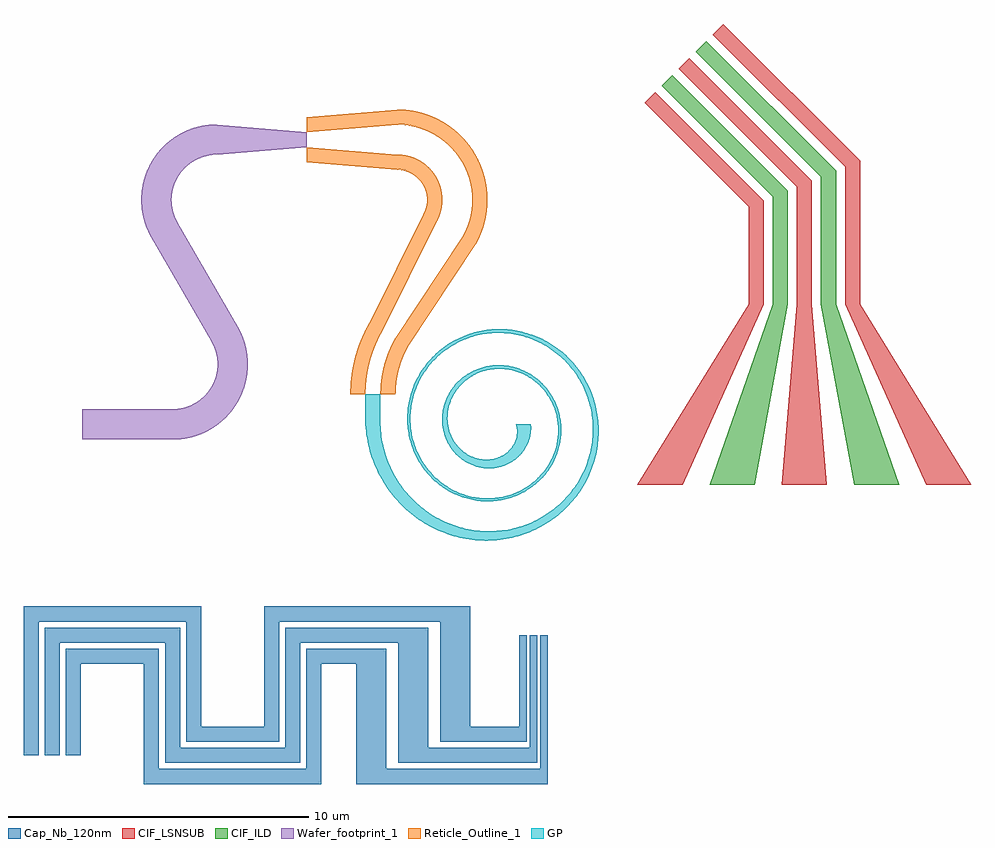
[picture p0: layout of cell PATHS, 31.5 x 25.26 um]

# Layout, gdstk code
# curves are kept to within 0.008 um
import gdstk
lib = gdstk.Library(unit=1e-6, precision=1e-09)
def R(c, l, rs):  # rectangles x0, y0, x1, y1
    for r in rs: c.add(gdstk.rectangle(r[:2], r[2:], *l))
def P(c, l, *ps):  # polygons
    for p in ps: c.add(gdstk.Polygon(p, *l))
Wafer_footprint_1 = (1, 1)
Reticle_Outline_1 = (2, 1)
GP = (3, 0)
CIF_LSNSUB = (4, 0)
CIF_ILD = (5, 0)
Cap_Nb_120nm = (6, 0)

paths = lib.new_cell('PATHS')
R(paths, Wafer_footprint_1, [(0,-0.5,3,0.5)])
P(paths, Wafer_footprint_1, [(3,-0.5),(3.19,-0.493),(3.459,-0.458),(3.674,-0.408),(3.855,-0.349),(3.513,0.59),(3.29,0.528),(3,0.5)],
  [(3.855,-0.349),(4.059,-0.265),(4.246,-0.168),(4.44,-0.044),(4.607,0.085),(3.964,0.851),(3.761,0.707),(3.513,0.59)],
  [(4.607,0.085),(4.77,0.234),(4.912,0.389),(5.058,0.58),(5.165,0.75),(4.299,1.25),(4.153,1.04),(3.964,0.851)],
  [(5.165,0.75),(5.25,0.909),(5.348,1.14),(5.412,1.341),(5.462,1.566),(4.477,1.74),(4.414,1.498),(4.299,1.25)],
  [(5.462,1.566),(5.5,1.955),(5.492,2.205),(5.462,2.434),(4.477,2.26),(4.5,2.037),(4.477,1.74)],
  [(5.462,2.434),(5.412,2.659),(5.348,2.86),(5.25,3.091),(5.165,3.25),(4.299,2.75),(4.414,2.502),(4.477,2.26)],
  [(4.299,2.75),(5.165,3.25),(3.165,6.714),(2.299,6.214)],
  [(2.299,6.214),(2.197,6.41),(2.106,6.633),(2.047,6.824),(2.002,7.03),(2.987,7.204),(3.048,6.968),(3.165,6.714)],
  [(2.002,7.03),(1.973,7.249),(1.964,7.429),(1.973,7.679),(2.002,7.898),(2.987,7.725),(2.964,7.495),(2.987,7.204)],
  [(2.002,7.898),(2.047,8.104),(2.106,8.296),(2.214,8.555),(2.299,8.714),(3.165,8.214),(3.05,7.966),(2.987,7.725)],
  [(2.299,8.714),(2.406,8.884),(2.539,9.06),(2.673,9.209),(2.857,9.379),(3.5,8.613),(3.311,8.424),(3.165,8.214)],
  [(2.857,9.379),(3.024,9.508),(3.192,9.617),(3.396,9.725),(3.609,9.813),(3.951,8.874),(3.698,8.754),(3.5,8.613)],
  [(3.609,9.813),(3.819,9.88),(4.005,9.922),(4.224,9.953),(4.464,9.964),(4.464,8.964),(4.168,8.935),(3.951,8.874)],
  [(4.464,9.964),(4.464,8.964),(7.464,9.214),(7.464,9.714)])
P(paths, Reticle_Outline_1, [(7.464,10.214),(7.464,9.714),(10.464,9.964),(10.464,10.464)],
  [(7.464,9.214),(7.464,8.714),(10.464,8.464),(10.464,8.964)],
  [(10.464,8.964),(10.705,8.945),(10.906,8.897),(10.759,8.42),(10.627,8.451),(10.464,8.464)],
  [(10.464,10.464),(10.716,10.454),(10.936,10.427),(11.348,10.331),(11.201,9.853),(10.854,9.934),(10.464,9.964)],
  [(10.906,8.897),(11.113,8.817),(11.309,8.703),(11.027,8.29),(10.895,8.367),(10.759,8.42)],
  [(11.348,10.331),(11.53,10.269),(11.752,10.174),(11.958,10.066),(12.154,9.943),(11.872,9.53),(11.549,9.717),(11.201,9.853)],
  [(11.309,8.703),(11.49,8.559),(11.637,8.399),(11.246,8.088),(11.132,8.209),(11.027,8.29)],
  [(12.154,9.943),(12.494,9.674),(12.679,9.488),(12.81,9.335),(12.419,9.023),(12.165,9.297),(11.872,9.53)],
  [(11.637,8.399),(11.767,8.208),(11.86,8.012),(11.395,7.829),(11.322,7.979),(11.246,8.088)],
  [(12.81,9.335),(12.913,9.198),(13.065,8.96),(13.164,8.773),(13.257,8.56),(12.791,8.377),(12.717,8.549),(12.621,8.729),(12.419,9.023)],
  [(11.86,8.012),(11.924,7.81),(11.96,7.576),(11.461,7.539),(11.441,7.68),(11.395,7.829)],
  [(13.257,8.56),(13.388,8.137),(13.425,7.949),(13.456,7.688),(12.957,7.651),(12.9,8.029),(12.791,8.377)],
  [(11.96,7.576),(11.96,7.349),(11.926,7.13),(11.439,7.242),(11.462,7.393),(11.461,7.539)],
  [(13.456,7.688),(13.464,7.406),(13.455,7.225),(13.389,6.797),(12.901,6.908),(12.958,7.286),(12.957,7.651)],
  [(11.926,7.13),(11.869,6.937),(11.763,6.714),(11.33,6.964),(11.399,7.108),(11.439,7.242)],
  [(13.389,6.797),(13.332,6.582),(13.259,6.373),(13.162,6.151),(13.062,5.964),(12.629,6.214),(12.779,6.519),(12.851,6.719),(12.901,6.908)],
  [(13.062,5.964),(12.629,6.214),(10.413,2.875),(10.846,2.625)],
  [(11.763,6.714),(11.33,6.964),(9.547,3.375),(9.98,3.125)],
  [(10.413,2.875),(10.258,2.578),(10.136,2.283),(10.606,2.112),(10.697,2.336),(10.846,2.625)],
  [(9.547,3.375),(9.338,2.971),(9.197,2.625),(9.667,2.454),(9.808,2.796),(9.98,3.125)],
  [(10.136,2.283),(10.044,1.994),(9.967,1.651),(10.46,1.564),(10.517,1.828),(10.606,2.112)],
  [(9.197,2.625),(9.077,2.249),(8.982,1.825),(9.475,1.738),(9.557,2.109),(9.667,2.454)],
  [(9.967,1.651),(9.927,1.359),(9.91,1),(10.41,1),(10.424,1.304),(10.46,1.564)],
  [(8.982,1.825),(8.927,1.404),(8.91,1),(9.41,1),(9.426,1.37),(9.475,1.738)])
R(paths, GP, [(9.41,0,9.91,1)])
P(paths, GP, [(9.91,0),(9.959,-0.497),(10.073,-0.982),(10.251,-1.444),(10.386,-1.708),(10.488,-1.877),(10.598,-2.04),(10.779,-2.272),(10.978,-2.489),(11.12,-2.624),(11.344,-2.81),(11.583,-2.978),(11.833,-3.126),(12.006,-3.212),(12.363,-3.357),(12.639,-3.44),(12.826,-3.482),(13.299,-3.544),(13.774,-3.541),(14.056,-3.509),(14.333,-3.455),(14.604,-3.379),(14.868,-3.281),(15.122,-3.163),(15.364,-3.026),(15.594,-2.87),(15.81,-2.696),(15.964,-2.888),(15.574,-3.196),(15.321,-3.355),(15.054,-3.495),(14.583,-3.68),(14.289,-3.761),(13.987,-3.818),(13.681,-3.851),(13.371,-3.86),(13.06,-3.843),(12.853,-3.818),(12.544,-3.76),(12.341,-3.708),(12.04,-3.608),(11.747,-3.484),(11.463,-3.336),(11.191,-3.166),(10.932,-2.972),(10.688,-2.758),(10.46,-2.524),(10.251,-2.271),(10.063,-2.001),(9.895,-1.715),(9.707,-1.313),(9.562,-0.889),(9.463,-0.45),(9.41,0)],
  [(15.81,-2.696),(16.136,-2.372),(16.413,-2.009),(16.637,-1.614),(16.806,-1.196),(16.916,-0.762),(16.967,-0.319),(16.959,0.123),(16.925,0.386),(16.871,0.643),(16.735,1.058),(16.547,1.448),(16.31,1.807),(16.029,2.128),(15.841,2.301),(15.642,2.457),(15.285,2.68),(15.059,2.788),(14.826,2.878),(14.587,2.949),(14.345,3),(14.374,3.128),(14.627,3.077),(14.877,3.005),(15.28,2.84),(15.511,2.715),(15.733,2.571),(15.944,2.409),(16.142,2.23),(16.44,1.895),(16.598,1.675),(16.738,1.442),(16.93,1.028),(17.066,0.588),(17.143,0.13),(17.16,-0.15),(17.154,-0.431),(17.094,-0.9),(17.027,-1.178),(16.939,-1.451),(16.828,-1.718),(16.646,-2.059),(16.428,-2.382),(16.241,-2.609),(15.964,-2.888)],
  [(14.345,3),(13.937,3.041),(13.531,3.027),(13.133,2.959),(12.902,2.893),(12.677,2.81),(12.323,2.632),(11.998,2.41),(11.708,2.149),(11.458,1.854),(11.252,1.531),(11.092,1.187),(10.98,0.827),(10.919,0.458),(10.907,0.088),(10.924,-0.132),(10.958,-0.348),(11.01,-0.56),(11.078,-0.767),(11.161,-0.965),(11.26,-1.156),(11.169,-1.2),(11.007,-0.865),(10.931,-0.654),(10.872,-0.435),(10.813,-0.061),(10.802,0.168),(10.809,0.399),(10.863,0.782),(10.92,1.009),(10.995,1.231),(11.161,1.589),(11.374,1.925),(11.633,2.232),(11.809,2.4),(11.998,2.553),(12.2,2.692),(12.414,2.815),(12.793,2.982),(13.031,3.058),(13.358,3.129),(13.61,3.159),(13.864,3.169),(14.119,3.159),(14.374,3.128)],
  [(11.26,-1.156),(11.457,-1.451),(11.64,-1.665),(11.897,-1.901),(12.18,-2.098),(12.485,-2.254),(12.804,-2.366),(13.132,-2.434),(13.529,-2.457),(13.855,-2.427),(14.171,-2.354),(14.472,-2.241),(14.751,-2.091),(14.907,-1.984),(15.052,-1.865),(15.31,-1.598),(15.519,-1.296),(15.674,-0.97),(15.765,-1.014),(15.633,-1.299),(15.422,-1.618),(15.298,-1.765),(15.161,-1.902),(14.907,-2.107),(14.625,-2.278),(14.257,-2.432),(13.863,-2.527),(13.524,-2.557),(13.18,-2.541),(12.974,-2.509),(12.77,-2.46),(12.438,-2.342),(12.122,-2.18),(11.943,-2.061),(11.773,-1.928),(11.613,-1.781),(11.465,-1.62),(11.329,-1.448),(11.169,-1.2)],
  [(15.674,-0.97),(15.747,-0.743),(15.802,-0.453),(15.817,-0.162),(15.794,0.126),(15.716,0.458),(15.612,0.718),(15.476,0.96),(15.31,1.178),(15.16,1.333),(14.952,1.501),(14.726,1.637),(14.438,1.757),(14.139,1.827),(13.839,1.848),(13.543,1.82),(13.262,1.746),(13.232,1.875),(13.535,1.947),(13.85,1.971),(14.117,1.951),(14.381,1.896),(14.689,1.782),(14.932,1.648),(15.158,1.481),(15.399,1.241),(15.571,1.01),(15.736,0.701),(15.835,0.424),(15.905,0.072),(15.917,-0.291),(15.871,-0.656),(15.765,-1.014)],
  [(13.262,1.746),(13.042,1.652),(12.879,1.557),(12.695,1.416),(12.533,1.254),(12.398,1.075),(12.29,0.882),(12.21,0.679),(12.16,0.472),(12.138,0.221),(12.151,0.016),(12.203,-0.22),(12.273,-0.404),(12.388,-0.604),(12.53,-0.779),(12.695,-0.924),(12.846,-1.021),(12.693,-1.213),(12.494,-1.06),(12.346,-0.906),(12.195,-0.696),(12.095,-0.501),(12.01,-0.249),(11.965,0.018),(11.961,0.247),(11.988,0.477),(12.061,0.749),(12.156,0.968),(12.31,1.214),(12.503,1.435),(12.614,1.535),(12.775,1.654),(12.904,1.732),(13.088,1.821),(13.232,1.875)],
  [(12.846,-1.021),(13.103,-1.126),(13.367,-1.17),(13.529,-1.167),(13.654,-1.149),(13.803,-1.108),(13.914,-1.061),(14.042,-0.987),(14.194,-0.86),(14.298,-0.733),(14.376,-0.596),(14.432,-0.429),(14.452,-0.286),(14.443,-0.127),(14.41,0),(14.91,0),(14.913,-0.202),(14.89,-0.372),(14.832,-0.572),(14.742,-0.763),(14.643,-0.912),(14.498,-1.074),(14.326,-1.212),(14.165,-1.307),(13.955,-1.392),(13.691,-1.449),(13.417,-1.456),(13.18,-1.421),(12.948,-1.347),(12.693,-1.213)])
P(paths, CIF_LSNSUB, [(18.692,10.692),(22.15,7.234),(22.15,4),(18.45,-2),(19.95,-2),(22.65,4),(22.65,7.441),(19.045,11.045)],
  [(19.823,11.823),(23.75,7.896),(23.75,4),(23.25,-2),(24.75,-2),(24.25,4),(24.25,8.104),(20.177,12.177)],
  [(20.955,12.955),(25.35,8.559),(25.35,4),(28.05,-2),(29.55,-2),(25.85,4),(25.85,8.766),(21.308,13.308)])
P(paths, CIF_ILD, [(19.258,11.258),(22.95,7.565),(22.95,4),(20.85,-2),(22.35,-2),(23.45,4),(23.45,7.772),(19.611,11.611)],
  [(20.389,12.389),(24.55,8.228),(24.55,4),(25.65,-2),(27.15,-2),(25.05,4),(25.05,8.435),(20.742,12.742)])
P(paths, Cap_Nb_120nm, [(-0.05,-11),(-0.05,-7.95),(2.05,-7.95),(2.05,-11.95),(7.95,-11.95),(7.95,-7.95),(9.1,-7.95),(9.1,-11.95),(15.475,-11.95),(15.475,-7),(15.225,-7),(15.225,-11.45),(10.1,-11.45),(10.1,-7.45),(7.45,-7.45),(7.45,-11.45),(2.55,-11.45),(2.55,-7.45),(-0.55,-7.45),(-0.55,-11)],
  [(-0.75,-11),(-0.75,-7.25),(2.75,-7.25),(2.75,-11.25),(7.25,-11.25),(7.25,-7.25),(10.5,-7.25),(10.5,-11.25),(15.125,-11.25),(15.125,-7),(14.875,-7),(14.875,-10.75),(11.5,-10.75),(11.5,-6.75),(6.75,-6.75),(6.75,-10.75),(3.25,-10.75),(3.25,-6.75),(-1.25,-6.75),(-1.25,-11)],
  [(-1.45,-11),(-1.45,-6.55),(3.45,-6.55),(3.45,-10.55),(6.55,-10.55),(6.55,-6.55),(11.9,-6.55),(11.9,-10.55),(14.775,-10.55),(14.775,-7),(14.525,-7),(14.525,-10.05),(12.9,-10.05),(12.9,-6.05),(6.05,-6.05),(6.05,-10.05),(3.95,-10.05),(3.95,-6.05),(-1.95,-6.05),(-1.95,-11)])

lib.write_gds('PATHS.gds')
